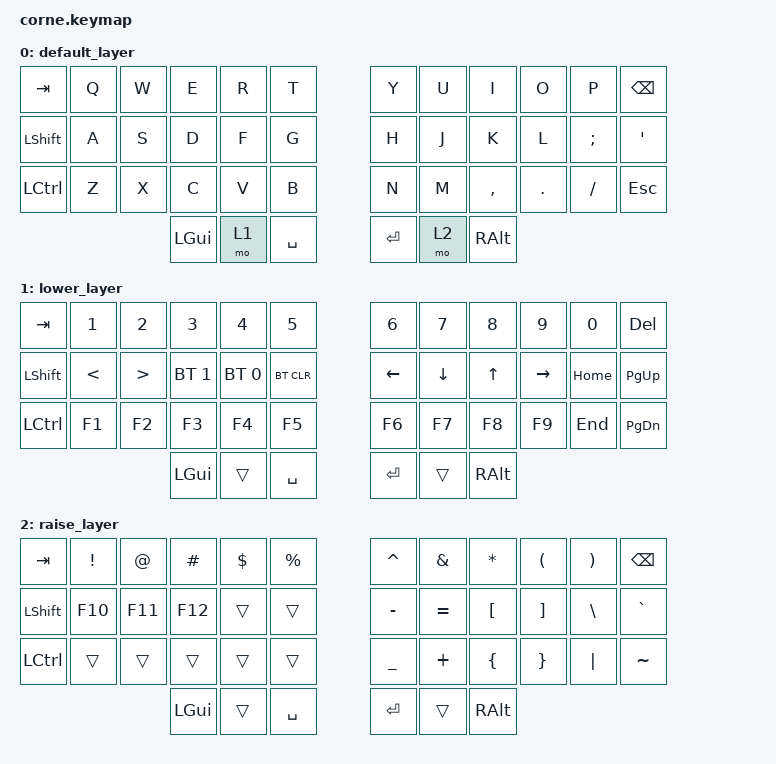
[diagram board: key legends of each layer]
/*
 * Copyright (c) 2020 The ZMK Contributors
 *
 * SPDX-License-Identifier: MIT
 */

#include <behaviors.dtsi>
#include <dt-bindings/zmk/keys.h>
#include <dt-bindings/zmk/bt.h>

/ {
        keymap {
                compatible = "zmk,keymap";

                default_layer {
// -----------------------------------------------------------------------------------------
// |  TAB |  Q  |  W  |  E  |  R  |  T  |   |  Y  |  U   |  I  |  O  |  P  | BKSP |
// | SHFT |  A  |  S  |  D  |  F  |  G  |   |  H  |  J   |  K  |  L  |  ;  |  '   |
// | CTRL |  Z  |  X  |  C  |  V  |  B  |   |  N  |  M   |  ,  |  .  |  /  | ESC  |
//                    | GUI | LWR | SPC |   | ENT | RSE  | ALT |
                        bindings = <
   &kp TAB   &kp Q &kp W &kp E &kp R &kp T   &kp Y &kp U  &kp I     &kp O   &kp P    &kp BSPC
   &kp LSHFT &kp A &kp S &kp D &kp F &kp G   &kp H &kp J  &kp K     &kp L   &kp SEMI &kp SQT
   &kp LCTRL &kp Z &kp X &kp C &kp V &kp B   &kp N &kp M  &kp COMMA &kp DOT &kp FSLH &kp ESC
                  &kp LGUI &mo 1 &kp SPACE   &kp RET &mo 2 &kp RALT
                        >;
                };
                lower_layer {
// -----------------------------------------------------------------------------------------
// |  TAB |  1  |  2  |  3  |  4  |  5  |   |  6  |  7  |  8  |  9  |  0  | DEL  |
// | SHFT |  <  |  >  | BT1 | BT0 |BTCLR|   | LFT | DWN |  UP | RGT |HOME |PG UP |
// | CTRL | F1  | F2  | F3  | F4  | F5  |   | F6  | F7  | F8  | F9  | END |PG DN |
//                    | GUI |     | SPC |   | ENT |     | ALT |
                        bindings = <
   &kp TAB    &kp N1       &kp N2       &kp N3       &kp N4       &kp N5         &kp N6   &kp N7   &kp N8 &kp N9    &kp N0 &kp DEL
   &kp LSHFT  &kp LT       &kp GT       &bt BT_SEL 1 &bt BT_SEL 0 &bt BT_CLR     &kp LEFT &kp DOWN &kp UP &kp RIGHT &kp HOME &kp PAGE_UP
   &kp LCTRL  &kp F1       &kp F2       &kp F3       &kp F4       &kp F5         &kp F6   &kp F7   &kp F8 &kp F9    &kp END &kp PG_DN
                                    &kp LGUI     &trans       &kp SPACE      &kp RET  &trans   &kp RALT
                        >;
                };

                raise_layer {
// -----------------------------------------------------------------------------------------
// |  TAB |  !  |  @  |  #  |  $  |  %  |   |  ^  |  &  |  *  |  (  |  )  | BKSP |
// | SHFT | F10 | F11 | F12 |     |     |   |  -  |  =  |  [  |  ]  |  \  |  `   |
// | CTRL |     |     |     |     |     |   |  _  |  +  |  {  |  }  | "|" |  ~   |
//                    | GUI |     | SPC |   | ENT |     | ALT |
                        bindings = <
   &kp  TAB  &kp EXCL &kp AT  &kp HASH &kp DLLR &kp PRCNT   &kp CARET &kp AMPS  &kp ASTRK &kp LPAR &kp RPAR &kp BSPC
   &kp LSHFT &kp F10  &kp F11 &kp F12  &trans   &trans      &kp MINUS &kp EQUAL &kp LBKT  &kp RBKT &kp BSLH &kp GRAVE
   &kp LCTRL &trans   &trans  &trans   &trans   &trans      &kp UNDER &kp PLUS  &kp LBRC  &kp RBRC &kp PIPE &kp TILDE
                             &kp LGUI &trans   &kp SPACE   &kp RET   &trans    &kp RALT
                        >;
                };
        };
};
